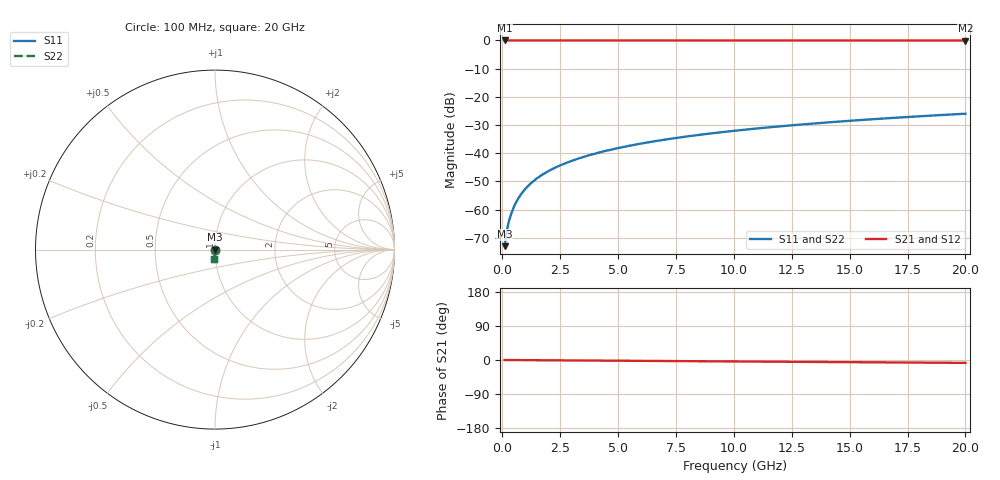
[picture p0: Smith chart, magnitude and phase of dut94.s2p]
! Touchstone file exported from HFSS 2026.1.0
!  File:  C:/ffzhzh/LocalFiles/Ansys_Project_Files/temp_train_TSV_94_1782959736_6388.aedt
!  Generated:  10:36:58 AM Jul  2, 2026
!  Design:  TSV
!  Project:  temp_train_TSV_94_1782959736_6388
! Variables:
!  h_bsmrdl = 2um
!  h_ox = 20um
!  h_rdl = 5um
!  h_sub = 72.49um
!  h_tmrdl = 5um
!  h_tsv = 72.49um
!  h_via = 3um
!  l_bsmrdl = 300um
!  l_sub = 427.28um
!  l_tmrdl = 200um
!  m_sub = 200um
!  pitch = 39.16um
!  r_tsv = 13.64um
!  s_tmrdl = 10um
!  w_bsmrdl = 18um
!  w_sub = 500um
!  w_tmrdl = 12um
!  x_tsv_center1 = 206um
!  x_tsv_center2 = 524um
!  x_tsv_center3 = 736um
!  x_tsv_center4 = 1054um
!  x_tsv_center5 = 1266um
!  x_tsv_center6 = 1584um
# GHz S MA R 50.000000
! Terminal data exported
! Port[1] = TSV1_1_T1
! Port[2] = TSV1_1_T2
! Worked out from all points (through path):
!   200 points, 100 MHz to 20 GHz, reference 50 ohm
!   highest |S21| = 0.00 dB at 100 MHz (marker M1); lowest = 0.0 dB at 20 GHz (marker M2)
!   group delay of S21, straight-line fit = 1.05 ps
!   lowest |S11| = -73.0 dB at 100 MHz (marker M3), VSWR 1.00, Z = 50 - j0.0208 ohm
!   |S11| at or under -10 dB: start of sweep to end of sweep
!   |S22| runs from -73.0 to -26.0 dB; largest |S21 - S12| = 3.4e-15
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0.1  0.0002236 -68.7  0.9999 -0.0  0.9999 -0.0  0.0002236 -68.7
! Gamma 0 0 0 0
! Port Impedance 50 0 50 0
0.2  0.0004312 -77.2  0.9999 -0.1  0.9999 -0.1  0.0004312 -77.2
0.3  0.0006498 -79.8  0.9999 -0.1  0.9999 -0.1  0.0006498 -79.8
0.4  0.0008769 -80.9  0.9999 -0.2  0.9999 -0.2  0.0008769 -80.9
0.5  0.001111 -81.6  0.9998 -0.2  0.9998 -0.2  0.001111 -81.6
0.7  0.001593 -82.7  0.9998 -0.3  0.9998 -0.3  0.001593 -82.7
0.8  0.001839 -83.2  0.9998 -0.3  0.9998 -0.3  0.001839 -83.2
1  0.002334 -84.0  0.9997 -0.4  0.9997 -0.4  0.002334 -84.0
1.2  0.002831 -84.7  0.9997 -0.5  0.9997 -0.5  0.002831 -84.7
1.4  0.003329 -85.3  0.9997 -0.5  0.9997 -0.5  0.003329 -85.3
1.7  0.004075 -86.0  0.9997 -0.7  0.9997 -0.7  0.004075 -86.0
2  0.004821 -86.6  0.9996 -0.8  0.9996 -0.8  0.004821 -86.6
2.7  0.006561 -87.6  0.9996 -1.0  0.9996 -1.0  0.006561 -87.6
3.5  0.008553 -88.4  0.9995 -1.3  0.9995 -1.3  0.008553 -88.4
4.2  0.0103 -88.9  0.9995 -1.6  0.9995 -1.6  0.0103 -88.9
5  0.0123 -89.4  0.9994 -1.9  0.9994 -1.9  0.0123 -89.4
6.8  0.01683 -90.5  0.9992 -2.6  0.9992 -2.6  0.01683 -90.5
8.3  0.02061 -91.2  0.9991 -3.2  0.9991 -3.2  0.02061 -91.2
10.1  0.02515 -92.1  0.9989 -3.9  0.9989 -3.9  0.02515 -92.1
13.4  0.03348 -93.6  0.9986 -5.1  0.9986 -5.1  0.03348 -93.6
16.7  0.04181 -95.0  0.9981 -6.4  0.9981 -6.4  0.04181 -95.0
20  0.05013 -96.4  0.9977 -7.6  0.9977 -7.6  0.05013 -96.4
